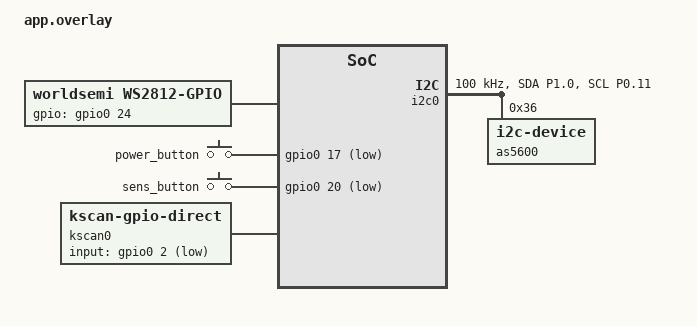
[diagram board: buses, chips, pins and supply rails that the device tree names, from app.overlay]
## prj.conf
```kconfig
# General
CONFIG_GPIO=y
CONFIG_I2C=y
CONFIG_SERIAL=y
CONFIG_CONSOLE=y
CONFIG_UART_CONSOLE=y

# Flash / Settings
CONFIG_FLASH=y
CONFIG_FLASH_MAP=y
CONFIG_NVS=y
CONFIG_SETTINGS_NVS_SECTOR_COUNT=12
CONFIG_NVS_LOOKUP_CACHE=y
CONFIG_NVS_LOOKUP_CACHE_SIZE=128

# LED
CONFIG_LED_STRIP=y
CONFIG_WS2812_STRIP_GPIO=y

# Sleep
CONFIG_ZMK_SLEEP=y
CONFIG_ZMK_PM_SOFT_OFF=y

# BLE
CONFIG_ZMK_BLE=y
CONFIG_ZMK_KEYBOARD_NAME="HiResScroll"
CONFIG_BT_MAX_PAIRED=2

# Pointing
CONFIG_ZMK_POINTING=y
CONFIG_ZMK_POINTING_SMOOTH_SCROLLING=y
CONFIG_INPUT=y

# Settings
CONFIG_ZMK_SETTINGS_SAVE_DEBOUNCE=1000

# UF2
CONFIG_BUILD_OUTPUT_UF2=y
CONFIG_FLASH_LOAD_OFFSET=0x26000
```

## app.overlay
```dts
#include <zephyr/dt-bindings/led/led.h>

&pinctrl {
    i2c0_default: i2c0_default {
        group1 {
            psels = <NRF_PSEL(TWIM_SDA, 1, 0)>,
                    <NRF_PSEL(TWIM_SCL, 0, 11)>;
            bias-pull-up;
        };
    };
    i2c0_sleep: i2c0_sleep {
        group1 {
            psels = <NRF_PSEL(TWIM_SDA, 1, 0)>,
                    <NRF_PSEL(TWIM_SCL, 0, 11)>;
            low-power-enable;
        };
    };
};

&i2c0 {
    compatible = "nordic,nrf-twim";
    status = "okay";
    pinctrl-0 = <&i2c0_default>;
    pinctrl-1 = <&i2c0_sleep>;
    pinctrl-names = "default", "sleep";
    clock-frequency = <I2C_BITRATE_STANDARD>;
    as5600: as5600@36 {
        compatible = "i2c-device";
        reg = <0x36>;
    };
};

/ {
    chosen {
        zmk,kscan = &kscan0;
        zephyr,led-strip = &ws2812;
    };

    ws2812: ws2812 {
        compatible = "worldsemi,ws2812-gpio";
        status = "okay";
        gpios = <&gpio0 24 GPIO_ACTIVE_HIGH>;
        chain-length = <1>;
        color-mapping = <LED_COLOR_ID_GREEN
                         LED_COLOR_ID_RED
                         LED_COLOR_ID_BLUE>;
    };
    
    /* Power button on P0 pin for System OFF wakeup support */
    wakeup_button: wakeup_button {
        compatible = "gpio-keys";
        wakeup-source;
        power_button: button_0 {
            gpios = <&gpio0 17 (GPIO_PULL_UP | GPIO_ACTIVE_LOW)>;
        };
    };

    wakeup_trigger: wakeup_trigger {
        compatible = "zmk,gpio-key-wakeup-trigger";
        trigger = <&power_button>;
        wakeup-source;
    };

    soft_off_wakeup_sources: soft_off_wakeup_sources {
        compatible = "zmk,soft-off-wakeup-sources";
        wakeup-sources = <&wakeup_trigger>;
    };

    buttons {
        compatible = "gpio-keys";
        sens_button: button_1 {
            gpios = <&gpio0 20 (GPIO_PULL_UP | GPIO_ACTIVE_LOW)>;
        };
    };

    /* Dummy kscan on unused pin to satisfy ZMK keymap requirement */
    kscan0: kscan {
        compatible = "zmk,kscan-gpio-direct";
        wakeup-source;
        input-gpios = <&gpio0 2 (GPIO_PULL_UP | GPIO_ACTIVE_LOW)>;
    };

    scroll_input: scroll_input {
        compatible = "zmk,as5600-input";
        status = "okay";
    };

    scroll_listener: scroll_listener {
        compatible = "zmk,input-listener";
        device = <&scroll_input>;
    };
};
```

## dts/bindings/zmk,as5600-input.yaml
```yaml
description: AS5600 magnetic rotary encoder input device
compatible: "zmk,as5600-input"
properties:
  "#input-cells":
    type: int
    const: 0
```

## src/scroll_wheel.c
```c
#include <zephyr/kernel.h>
#include <zephyr/drivers/gpio.h>
#include <zephyr/drivers/i2c.h>
#include <zephyr/sys/printk.h>
#include <zephyr/device.h>
#include <zephyr/input/input.h>
#include <zephyr/dt-bindings/input/input-event-codes.h>
#include <zephyr/sys/atomic.h>
#include <zephyr/drivers/led_strip.h>
#include <zmk/ble.h>
#include <zmk/pm.h>
#include <zephyr/settings/settings.h>

#define AS5600_RAW_ANGLE_REG    0x0C
#define AS5600_MAX_ANGLE        4096
#define AS5600_HALF_MAX         2048
#define SAMPLE_INTERVAL_MS      4
#define LONG_PRESS_MS           1500
#define LONGEST_PRESS_MS        3000
#define INACTIVITY_TIMEOUT_MS   (10 * 60 * 1000)

static const struct i2c_dt_spec as5600     = I2C_DT_SPEC_GET(DT_NODELABEL(as5600));
static const struct gpio_dt_spec btn_power = GPIO_DT_SPEC_GET(DT_NODELABEL(power_button), gpios);
static const struct gpio_dt_spec btn_sens  = GPIO_DT_SPEC_GET(DT_NODELABEL(sens_button), gpios);
static const struct device *led_strip      = DEVICE_DT_GET(DT_NODELABEL(ws2812));
static const struct device *scroll_dev     = DEVICE_DT_GET(DT_NODELABEL(scroll_input));

static struct led_rgb pixels[1];
static int64_t last_activity_ms = 0;
static int sens_levels[] = {16, 8};
static int sens_idx = 0;
static atomic_t current_ticks_per_scroll = ATOMIC_INIT(16);

static int read_angle(uint16_t *out)
{
    uint8_t reg = AS5600_RAW_ANGLE_REG;
    uint8_t buf[2];
    int ret = i2c_write_read_dt(&as5600, &reg, 1, buf, 2);
    if (ret == 0) {
        *out = ((uint16_t)buf[0] << 8) | buf[1];
    }
    return ret;
}

static int16_t compute_delta(uint16_t prev, uint16_t curr)
{
    int16_t delta = (int16_t)curr - (int16_t)prev;
    if (delta >  AS5600_HALF_MAX) delta -= AS5600_MAX_ANGLE;
    if (delta < -AS5600_HALF_MAX) delta += AS5600_MAX_ANGLE;
    return delta;
}

static void led_set_color(uint8_t r, uint8_t g, uint8_t b)
{
    pixels[0].r = r;
    pixels[0].g = g;
    pixels[0].b = b;
    led_strip_update_rgb(led_strip, pixels, 1);
}

static void led_blink(int times, int on_ms, int off_ms, uint8_t r, uint8_t g, uint8_t b)
{
    for (int i = 0; i < times; i++) {
        led_set_color(r, g, b);
        k_msleep(on_ms);
        led_set_color(0, 0, 0);
        k_msleep(off_ms);
    }
}

static void enter_soft_off(void)
{
    const struct device *gpio0 = DEVICE_DT_GET(DT_NODELABEL(gpio0));
    gpio_pin_configure(gpio0, 13, GPIO_OUTPUT_ACTIVE);
    gpio_pin_set(gpio0, 13, 0);
    settings_save();
    k_msleep(500);
    zmk_pm_soft_off();
}

static void clear_bonds_work_fn(struct k_work *work)
{
    zmk_ble_clear_bonds();
}

static K_WORK_DEFINE(clear_bonds_work, clear_bonds_work_fn);

/* Scroll handling */
static void scroll_thread_fn(void *a, void *b, void *c)
{
    if (!device_is_ready(as5600.bus)) {
        printk("AS5600 bus not ready\n");
        return;
    }

    /* Check magnet status */
    uint8_t status_reg = 0x0B;
    uint8_t status;
    i2c_write_read_dt(&as5600, &status_reg, 1, &status, 1);
    printk("Magnet: detected=%d too_weak=%d too_strong=%d\n",
           !!(status & BIT(5)),
           !!(status & BIT(4)),
           !!(status & BIT(3)));

    int profile = zmk_ble_active_profile_index();
    printk("Current profile %d, is_open=%d\n", profile, zmk_ble_active_profile_is_open());

    /* Enable AS5600 watchdog (WD bit) + 1 LSB hysteresis */
    uint8_t conf_reg = 0x07;
    uint8_t conf_buf[2];
    i2c_write_read_dt(&as5600, &conf_reg, 1, conf_buf, 2);
    conf_buf[0] |= 0x20;
    conf_buf[1] |= (1 << 2);
    uint8_t conf_write[] = {0x07, conf_buf[0], conf_buf[1]};
    i2c_write_dt(&as5600, conf_write, sizeof(conf_write));

    uint16_t prev_angle = 0;
    int32_t accumulator = 0;

    /* Wait for BLE connection before reporting */
    while (!zmk_ble_active_profile_is_connected()) {
        read_angle(&prev_angle);
        accumulator = 0;
        k_msleep(100);
    }
    /* Extra stabilization delay after connect */
    k_msleep(2000);
    read_angle(&prev_angle);
    accumulator = 0;

    last_activity_ms = k_uptime_get();

    while (1) {
        k_msleep(SAMPLE_INTERVAL_MS);

        uint16_t curr_angle;
        if (read_angle(&curr_angle) != 0) {
            continue;
        }

        static int16_t prev_delta = 0;

        int16_t delta = compute_delta(prev_angle, curr_angle);
        prev_angle = curr_angle;

        /* Detect glitch: large delta with no acceleration from previous sample */
        int16_t acceleration = delta - prev_delta;
        if ((delta > 40 || delta < -40) && (acceleration > 60 || acceleration < -60)) {
            prev_delta = 0;
            continue;
        }

        prev_delta = delta;

        if (delta == 0) continue;

        accumulator += delta;
        int32_t ticks = atomic_get(&current_ticks_per_scroll);
        int32_t scroll_ticks = accumulator / ticks;

        if (scroll_ticks != 0) {
            accumulator -= scroll_ticks * ticks;
            last_activity_ms = k_uptime_get();
            input_report_rel(scroll_dev, INPUT_REL_WHEEL, (int16_t)scroll_ticks, true, K_NO_WAIT);
        }

        /* Check inactivity timeout */
        if (k_uptime_get() - last_activity_ms > INACTIVITY_TIMEOUT_MS) {
            printk("Inactivity timeout, entering soft off\n");
            led_blink(2, 100, 100, 50, 0, 0);
            enter_soft_off();
        }
    }
}

K_THREAD_DEFINE(scroll_tid, 1024, scroll_thread_fn, NULL, NULL, NULL, K_PRIO_PREEMPT(10), 0, 0);

/* Power and BT button */
static void power_button_thread_fn(void *a, void *b, void *c)
{
    if (!device_is_ready(led_strip)) {
        printk("LED strip not ready\n");
        return;
    }
    if (!gpio_is_ready_dt(&btn_power)) {
        printk("Power button not ready\n");
        return;
    }

    gpio_pin_configure_dt(&btn_power, GPIO_INPUT);
    led_set_color(0, 0, 0);

    bool last_state = false;
    int64_t press_time = 0;
    bool longest_triggered = false;

    while (1) {
        bool current_state = gpio_pin_get_dt(&btn_power) > 0;

        if (current_state && !last_state) {
            press_time = k_uptime_get();
            longest_triggered = false;
        } else if (current_state && last_state && !longest_triggered) {
            if (k_uptime_get() - press_time >= LONGEST_PRESS_MS) {
                longest_triggered = true;
                zmk_ble_prof_next();
                int profile = zmk_ble_active_profile_index();
                printk("Switched to profile %d, is_open=%d\n", profile,
                       zmk_ble_active_profile_is_open());
                led_blink(profile + 1, 150, 150, 0, 20, 20);
            }
        } else if (!current_state && last_state && !longest_triggered) {
            int64_t held_ms = k_uptime_get() - press_time;

            if (held_ms >= LONG_PRESS_MS) {
                printk("Entering soft off\n");
                led_blink(2, 100, 100, 50, 0, 0);
                enter_soft_off();
            } else {
                printk("BT reset\n");
                led_blink(1, 100, 100, 0, 0, 50);
                zmk_ble_prof_disconnect(0);
            }
        }

        last_state = current_state;
        k_msleep(50);
    }
}

K_THREAD_DEFINE(led_btn_power_tid, 1024, power_button_thread_fn, NULL, NULL, NULL, K_PRIO_PREEMPT(7), 0, 0);

/* Sensitivity button toggle */
static void sens_button_thread_fn(void *a, void *b, void *c)
{
    if (!gpio_is_ready_dt(&btn_sens)) {
        printk("Sensitivity button not ready\n");
        return;
    }

    gpio_pin_configure_dt(&btn_sens, GPIO_INPUT);

    bool last_btn_state = false;
    int64_t sens_press_time = 0;
    bool longest_triggered = false;

    while (1) {
        bool current_btn_state = gpio_pin_get_dt(&btn_sens) > 0;

        if (current_btn_state && !last_btn_state) {
            sens_press_time = k_uptime_get();
            longest_triggered = false;
        } else if (current_btn_state && last_btn_state && !longest_triggered) {
            if (k_uptime_get() - sens_press_time >= LONGEST_PRESS_MS) {
                longest_triggered = true;
                printk("Clearing current profile\n");
                led_blink(3, 100, 100, 50, 0, 0);
                k_work_submit(&clear_bonds_work);
            }
        } else if (!current_btn_state && last_btn_state && !longest_triggered) {
            sens_idx = (sens_idx + 1) % ARRAY_SIZE(sens_levels);
            atomic_set(&current_ticks_per_scroll, sens_levels[sens_idx]);
            printk("Sensitivity: %d\n", sens_levels[sens_idx]);
        }

        last_btn_state = current_btn_state;
        k_msleep(50);
    }
}

K_THREAD_DEFINE(sens_btn_tid, 512, sens_button_thread_fn, NULL, NULL, NULL, K_PRIO_PREEMPT(8), 0, 0);
```
